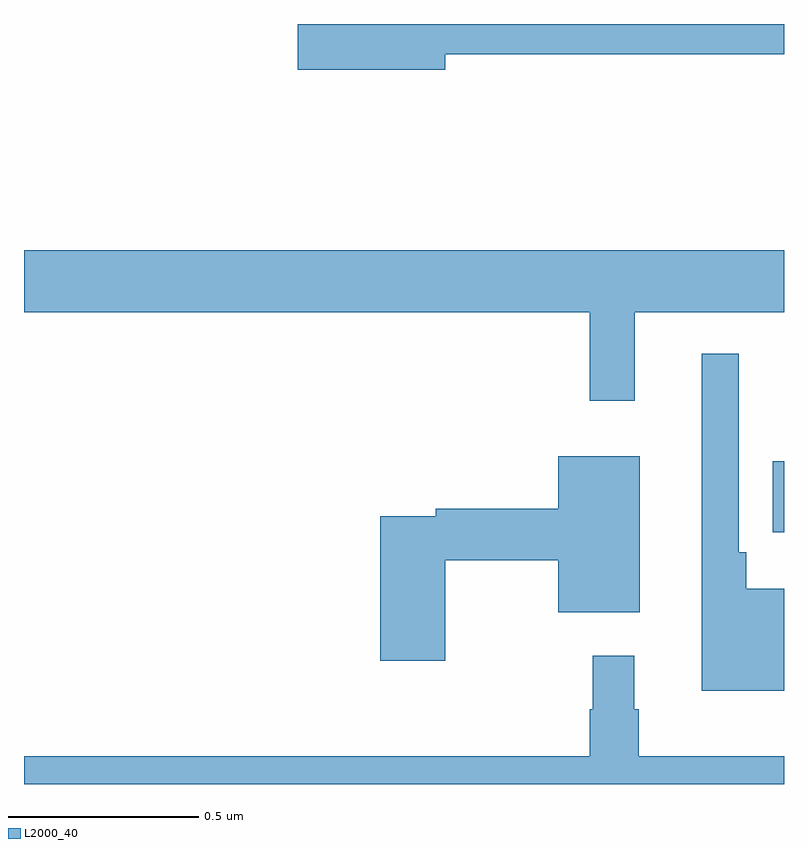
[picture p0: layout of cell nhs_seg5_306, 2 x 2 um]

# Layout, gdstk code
import gdstk
lib = gdstk.Library(unit=1e-6, precision=1e-09)
def R(c, l, rs):  # rectangles x0, y0, x1, y1
    for r in rs: c.add(gdstk.rectangle(r[:2], r[2:], *l))
def P(c, l, *ps):  # polygons
    for p in ps: c.add(gdstk.Polygon(p, *l))
L2000_40 = (2000, 40)

nhs_seg5_306 = lib.new_cell('nhs_seg5_306')
R(nhs_seg5_306, L2000_40, [(115.97,909.461,116,909.649)])
P(nhs_seg5_306, L2000_40, [(115.108,910.72),(116,910.72),(116,910.799),(114.72,910.799),(114.72,910.678),(115.108,910.678)],
  [(115.607,910.04),(116,910.04),(116,910.204),(114,910.204),(114,910.04),(115.489,910.04),(115.489,909.807),(115.607,909.807)],
  [(116,909.313),(115.901,909.313),(115.901,909.409),(115.881,909.409),(115.881,909.931),(115.784,909.931),(115.784,909.044),(116,909.044)],
  [(115.108,909.388),(115.406,909.388),(115.406,909.251),(115.621,909.251),(115.621,909.661),(115.406,909.661),(115.406,909.524),(115.084,909.524),(115.084,909.504),(114.938,909.504),(114.938,909.123),(115.108,909.123)],
  [(116,908.872),(115.618,908.872),(115.618,908.996),(115.606,908.996),(115.606,909.136),(115.497,909.136),(115.497,908.996),(115.489,908.996),(115.489,908.872),(114,908.872),(114,908.799),(116,908.799)])

lib.write_gds('nhs_seg5_306.gds')
